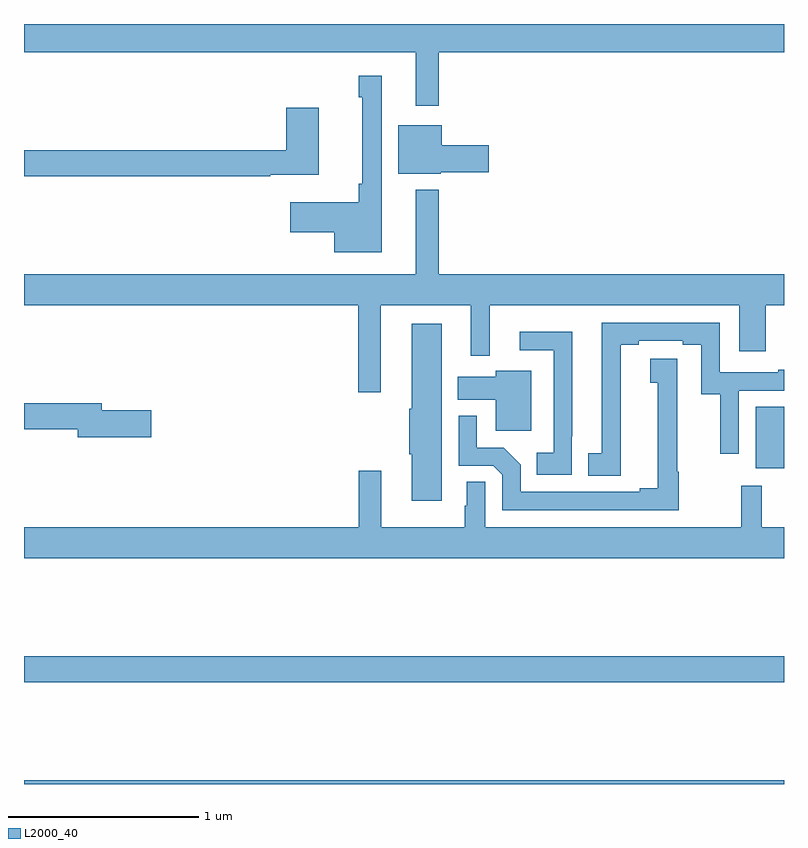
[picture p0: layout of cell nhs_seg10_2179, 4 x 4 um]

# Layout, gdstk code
import gdstk
lib = gdstk.Library(unit=1e-6, precision=1e-09)
def R(c, l, rs):  # rectangles x0, y0, x1, y1
    for r in rs: c.add(gdstk.rectangle(r[:2], r[2:], *l))
def P(c, l, *ps):  # polygons
    for p in ps: c.add(gdstk.Polygon(p, *l))
L2000_40 = (2000, 40)

nhs_seg10_2179 = lib.new_cell('nhs_seg10_2179')
R(nhs_seg10_2179, L2000_40, [(227,1260.5,231,1260.52), (227,1261.036,231,1261.172), (230.852,1262.163,231,1262.486)])
P(nhs_seg10_2179, L2000_40, [(229.183,1264.352),(231,1264.352),(231,1264.5),(227,1264.5),(227,1264.352),(229.061,1264.352),(229.061,1264.071),(229.183,1264.071)],
  [(228.883,1264.228),(228.762,1264.228),(228.762,1264.115),(228.779,1264.115),(228.779,1263.658),(228.762,1263.658),(228.762,1263.562),(228.402,1263.562),(228.402,1263.404),(228.632,1263.404),(228.632,1263.299),(228.883,1263.299)],
  [(228.296,1263.707),(228.55,1263.707),(228.55,1264.06),(228.38,1264.06),(228.38,1263.836),(227,1263.836),(227,1263.7),(228.296,1263.7)],
  [(229.194,1263.719),(229.447,1263.719),(229.447,1263.861),(229.198,1263.861),(229.198,1263.967),(228.971,1263.967),(228.971,1263.713),(229.194,1263.713)],
  [(228.877,1263.02),(229.352,1263.02),(229.352,1262.754),(229.45,1262.754),(229.45,1263.02),(230.765,1263.02),(230.765,1262.778),(230.905,1262.778),(230.905,1263.02),(231,1263.02),(231,1263.184),(229.183,1263.184),(229.183,1263.628),(229.061,1263.628),(229.061,1263.184),(227,1263.184),(227,1263.02),(228.76,1263.02),(228.76,1262.562),(228.877,1262.562)],
  [(230.141,1262.531),(230.14,1262.531),(230.14,1262.812),(230.236,1262.812),(230.236,1262.832),(230.468,1262.832),(230.468,1262.812),(230.565,1262.812),(230.565,1262.551),(230.665,1262.551),(230.665,1262.238),(230.763,1262.238),(230.763,1262.571),(231,1262.571),(231,1262.68),(230.969,1262.68),(230.969,1262.667),(230.661,1262.667),(230.661,1262.928),(230.042,1262.928),(230.042,1262.241),(229.969,1262.241),(229.969,1262.122),(230.141,1262.122)],
  [(229.198,1262.923),(229.04,1262.923),(229.04,1262.474),(229.028,1262.474),(229.028,1262.236),(229.04,1262.236),(229.04,1261.992),(229.198,1261.992)],
  [(229.884,1262.33),(229.885,1262.33),(229.885,1262.881),(229.608,1262.881),(229.608,1262.784),(229.788,1262.784),(229.788,1262.243),(229.699,1262.243),(229.699,1262.127),(229.884,1262.127)],
  [(230.447,1262.144),(230.437,1262.144),(230.437,1262.737),(230.297,1262.737),(230.297,1262.612),(230.336,1262.612),(230.336,1262.057),(230.24,1262.057),(230.24,1262.037),(229.614,1262.037),(229.614,1262.181),(229.524,1262.271),(229.383,1262.271),(229.383,1262.437),(229.287,1262.437),(229.287,1262.175),(229.47,1262.175),(229.518,1262.127),(229.518,1261.941),(230.447,1261.941)],
  [(229.669,1262.674),(229.484,1262.674),(229.484,1262.644),(229.283,1262.644),(229.283,1262.522),(229.484,1262.522),(229.484,1262.36),(229.669,1262.36)],
  [(227.671,1262.468),(227.41,1262.468),(227.41,1262.504),(227,1262.504),(227,1262.368),(227.282,1262.368),(227.282,1262.326),(227.671,1262.326)],
  [(231,1261.852),(230.884,1261.852),(230.884,1262.071),(230.775,1262.071),(230.775,1261.852),(229.428,1261.852),(229.428,1262.09),(229.331,1262.09),(229.331,1261.965),(229.32,1261.965),(229.32,1261.852),(228.88,1261.852),(228.88,1262.149),(228.763,1262.149),(228.763,1261.852),(227,1261.852),(227,1261.688),(231,1261.688)])

lib.write_gds('nhs_seg10_2179.gds')
